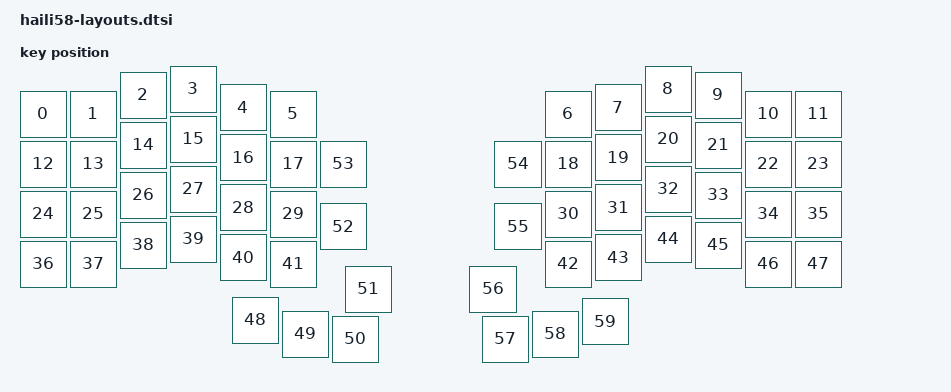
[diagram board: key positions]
#include <physical_layouts.dtsi>

/ {
    physical_layout_haili58: physical_layout_haili58 {
        compatible = "zmk,physical-layout";
        display-name = "haili58";
        keys  //                     w   h    x    y     rot    rx    ry
        = <&key_physical_attrs 100 100    0   50       0     0     0>
        , <&key_physical_attrs 100 100  100   50       0     0     0>
        , <&key_physical_attrs 100 100  200   12       0     0     0>
        , <&key_physical_attrs 100 100  300    0       0     0     0>
        , <&key_physical_attrs 100 100  400   37       0     0     0>
        , <&key_physical_attrs 100 100  500   50       0     0     0>
        , <&key_physical_attrs 100 100 1050   50       0     0     0>
        , <&key_physical_attrs 100 100 1150   37       0     0     0>
        , <&key_physical_attrs 100 100 1250    0       0     0     0>
        , <&key_physical_attrs 100 100 1350   12       0     0     0>
        , <&key_physical_attrs 100 100 1450   50       0     0     0>
        , <&key_physical_attrs 100 100 1550   50       0     0     0>
        , <&key_physical_attrs 100 100    0  150       0     0     0>
        , <&key_physical_attrs 100 100  100  150       0     0     0>
        , <&key_physical_attrs 100 100  200  112       0     0     0>
        , <&key_physical_attrs 100 100  300  100       0     0     0>
        , <&key_physical_attrs 100 100  400  137       0     0     0>
        , <&key_physical_attrs 100 100  500  150       0     0     0>
        , <&key_physical_attrs 100 100 1050  150       0     0     0>
        , <&key_physical_attrs 100 100 1150  137       0     0     0>
        , <&key_physical_attrs 100 100 1250  100       0     0     0>
        , <&key_physical_attrs 100 100 1350  112       0     0     0>
        , <&key_physical_attrs 100 100 1450  150       0     0     0>
        , <&key_physical_attrs 100 100 1550  150       0     0     0>
        , <&key_physical_attrs 100 100    0  250       0     0     0>
        , <&key_physical_attrs 100 100  100  250       0     0     0>
        , <&key_physical_attrs 100 100  200  212       0     0     0>
        , <&key_physical_attrs 100 100  300  200       0     0     0>
        , <&key_physical_attrs 100 100  400  237       0     0     0>
        , <&key_physical_attrs 100 100  500  250       0     0     0>
        , <&key_physical_attrs 100 100 1050  250       0     0     0>
        , <&key_physical_attrs 100 100 1150  237       0     0     0>
        , <&key_physical_attrs 100 100 1250  200       0     0     0>
        , <&key_physical_attrs 100 100 1350  212       0     0     0>
        , <&key_physical_attrs 100 100 1450  250       0     0     0>
        , <&key_physical_attrs 100 100 1550  250       0     0     0>
        , <&key_physical_attrs 100 100    0  350       0     0     0>
        , <&key_physical_attrs 100 100  100  350       0     0     0>
        , <&key_physical_attrs 100 100  200  312       0     0     0>
        , <&key_physical_attrs 100 100  300  300       0     0     0>
        , <&key_physical_attrs 100 100  400  337       0     0     0>
        , <&key_physical_attrs 100 100  500  350       0     0     0>
        , <&key_physical_attrs 100 100 1050  350       0     0     0>
        , <&key_physical_attrs 100 100 1150  337       0     0     0>
        , <&key_physical_attrs 100 100 1250  300       0     0     0>
        , <&key_physical_attrs 100 100 1350  312       0     0     0>
        , <&key_physical_attrs 100 100 1450  350       0     0     0>
        , <&key_physical_attrs 100 100 1550  350       0     0     0>
        , <&key_physical_attrs 100 100  425  462       0     0     0>
        , <&key_physical_attrs 100 100  525  490       0     0     0>
        , <&key_physical_attrs 100 100  625  500       0     0     0>
        , <&key_physical_attrs 100 100  650  400       0     0   475>
        , <&key_physical_attrs 100 100  600  275       0     0     0>
        , <&key_physical_attrs 100 100  600  150       0     0     0>
        , <&key_physical_attrs 100 100  950  150       0     0     0>
        , <&key_physical_attrs 100 100  950  275       0     0     0>
        , <&key_physical_attrs 100 100  900  400       0     0   475>
        , <&key_physical_attrs 100 100  925  500       0     0     0>
        , <&key_physical_attrs 100 100 1025  490       0     0     0>
        , <&key_physical_attrs 100 100 1125  465       0     0     0>
        ;
    };
};
